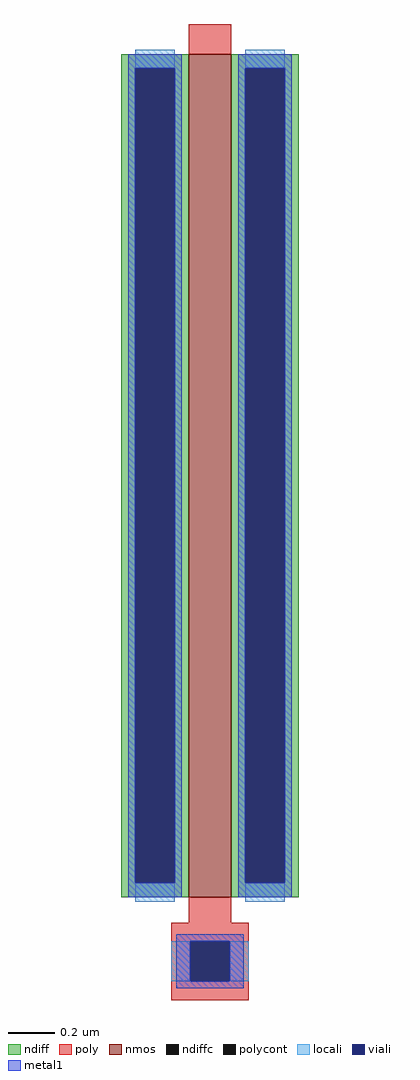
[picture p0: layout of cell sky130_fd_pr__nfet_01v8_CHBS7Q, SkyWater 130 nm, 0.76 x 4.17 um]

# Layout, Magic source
magic
tech sky130A
magscale 1 2
<< nmos >>
rect -18 -329 18 391
<< ndiff >>
rect -76 379 -18 391
rect -76 -317 -64 379
rect -30 -317 -18 379
rect -76 -329 -18 -317
rect 18 379 76 391
rect 18 -317 30 379
rect 64 -317 76 379
rect 18 -329 76 -317
<< ndiffc >>
rect -64 -317 -30 379
rect 30 -317 64 379
<< poly >>
rect -18 391 18 417
rect -18 -351 18 -329
rect -33 -367 33 -351
rect -33 -401 -17 -367
rect 17 -401 33 -367
rect -33 -417 33 -401
<< polycont >>
rect -17 -401 17 -367
<< locali >>
rect -64 379 -30 395
rect -64 -333 -30 -317
rect 30 379 64 395
rect 30 -333 64 -317
rect -33 -401 -17 -367
rect 17 -401 33 -367
<< viali >>
rect -64 -317 -30 379
rect 30 -317 64 379
rect -17 -401 17 -367
<< metal1 >>
rect -70 379 -24 391
rect -70 -317 -64 379
rect -30 -317 -24 379
rect -70 -329 -24 -317
rect 24 379 70 391
rect 24 -317 30 379
rect 64 -317 70 379
rect 24 -329 70 -317
rect -29 -367 29 -361
rect -29 -401 -17 -367
rect 17 -401 29 -367
rect -29 -407 29 -401
<< properties >>
string gencell sky130_fd_pr__nfet_01v8
string library sky130
string parameters w 3.6 l 0.18 m 1 nf 1 diffcov 100 polycov 100 guard 0 glc 1 grc 1 gtc 1 gbc 1 tbcov 100 rlcov 100 topc 0 botc 1 poverlap 0 doverlap 1 lmin 0.15 wmin 0.42 compatible {sky130_fd_pr__nfet_01v8 sky130_fd_pr__nfet_01v8_lvt  sky130_fd_bs_flash__special_sonosfet_star  sky130_fd_pr__nfet_g5v0d10v5 sky130_fd_pr__nfet_05v0_nvt  sky130_fd_pr__nfet_03v3_nvt} full_metal 1 viasrc 100 viadrn 100 viagate 100 viagb 0 viagr 0 viagl 0 viagt 0
<< end >>
